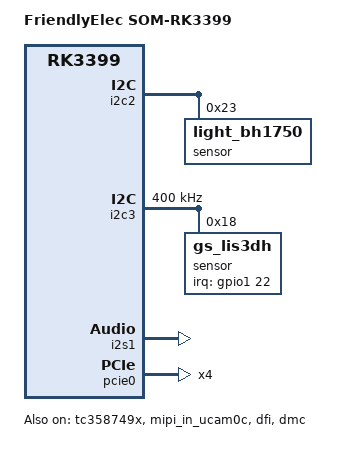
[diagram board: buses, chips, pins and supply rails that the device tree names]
// SPDX-License-Identifier: (GPL-2.0+ OR MIT)
/*
 * Copyright (c) 2020 FriendlyElec Computer Tech. Co., Ltd.
 * (http://www.friendlyarm.com)
 */

/dts-v1/;
#include <dt-bindings/sensor-dev.h>
#include "rk3399-nanopi4-common.dtsi"

/ {
	model = "FriendlyElec SOM-RK3399";
	compatible = "friendlyelec,som-rk3399", "rockchip,rk3399";

	hdmiin-sound {
		compatible = "rockchip,rockchip-rt5651-sound";
		rockchip,cpu = <&i2s1>;
		rockchip,codec = <&rt5651 &rt5651>;
		pinctrl-names = "default";
		pinctrl-0 = <&hp_det>;
		status = "okay";
	};
};

&mach {
	hwrev = <7>;
	model = "SOM-RK3399";
};

&i2c2 {
    sensor@23 {
        compatible = "light_bh1750";
        reg = <0x23>;
        status = "okay";

        type = <SENSOR_TYPE_LIGHT>;
        poll_delay_ms = <64>;
    };
};

&i2c3 {
	status = "okay";
	i2c-scl-rising-time-ns = <160>;
	i2c-scl-falling-time-ns = <30>;
	clock-frequency = <400000>;

	sensor@18 {
		status = "okay";
		compatible = "gs_lis3dh";
		reg = <0x18>;
		type = <SENSOR_TYPE_ACCEL>;
		irq-gpio = <&gpio1 22 IRQ_TYPE_LEVEL_LOW>;
		irq_enable = <0>;
		poll_delay_ms = <64>;
		layout = <2>;
		reprobe_en = <1>;
	};
};

&i2s1 {
	status = "okay";
	rockchip,playback-channels = <2>;
	rockchip,capture-channels = <2>;
	#sound-dai-cells = <0>;
};

&pcie0 {
	ep-gpios = <&gpio2 4 GPIO_ACTIVE_HIGH>;
	pinctrl-names = "default";
	pinctrl-0 = <&pcie_gpios>;
	num-lanes = <4>;
	max-link-speed = <2>;
};

&rt5651_card {
	status = "disabled";

	simple-audio-card,cpu {
		sound-dai = <&i2s1>;
	};
};

&tc358749x {
	rockchip,camera-module-index = <0>;
	rockchip,camera-module-facing = "back";
	rockchip,camera-module-name = "HDMIIN";
	rockchip,camera-module-lens-name = "NA";

	status = "okay";
};

&mipi_in_ucam0c {
	status = "okay";
};

&dfi {
	status = "okay";
};

&dmc {
	status = "okay";
	center-supply = <&vdd_center>;
	upthreshold = <40>;
	downdifferential = <20>;
	system-status-freq = <
		/*system status         freq(KHz)*/
		SYS_STATUS_NORMAL       856000
		SYS_STATUS_REBOOT       416000
		SYS_STATUS_SUSPEND      416000
		SYS_STATUS_VIDEO_1080P  666000
		SYS_STATUS_VIDEO_4K     856000
		SYS_STATUS_VIDEO_4K_10B 856000
		SYS_STATUS_PERFORMANCE  856000
		SYS_STATUS_BOOST        856000
		SYS_STATUS_DUALVIEW     856000
		SYS_STATUS_ISP          856000
	>;
	vop-bw-dmc-freq = <
	/* min_bw(MB/s) max_bw(MB/s) freq(KHz) */
		0       924      416000
		925     1893     666000
		1894    99999    856000
	>;

	vop-pn-msch-readlatency = <
		0   0x20
		4   0x20
	>;

	auto-min-freq = <328000>;
	auto-freq-en = <1>;
};

&dmc_opp_table {
	compatible = "operating-points-v2";

	/delete-node/ opp-200000000;
	/delete-node/ opp-300000000;
	/delete-node/ opp-400000000;
	/delete-node/ opp-528000000;
	/delete-node/ opp-600000000;
	/delete-node/ opp-800000000;

	opp-328000000 {
		opp-hz = /bits/ 64 <328000000>;
		opp-microvolt = <900000>;
	};
	opp-416000000 {
		opp-hz = /bits/ 64 <416000000>;
		opp-microvolt = <900000>;
	};
	opp-666000000 {
		opp-hz = /bits/ 64 <666000000>;
		opp-microvolt = <900000>;
	};
	opp-856000000 {
		opp-hz = /bits/ 64 <856000000>;
		opp-microvolt = <900000>;
	};
};

&pinctrl {
	hdmiin {
		hdmiin_gpios: hdmiin-gpios {
			rockchip,pins =
				<1 0 RK_FUNC_GPIO &pcfg_output_high>,
				<2 6 RK_FUNC_GPIO &pcfg_output_high>,
				<2 5 RK_FUNC_GPIO &pcfg_output_high>,
				<0 2 RK_FUNC_GPIO &pcfg_pull_none>;
		};
	};
};
